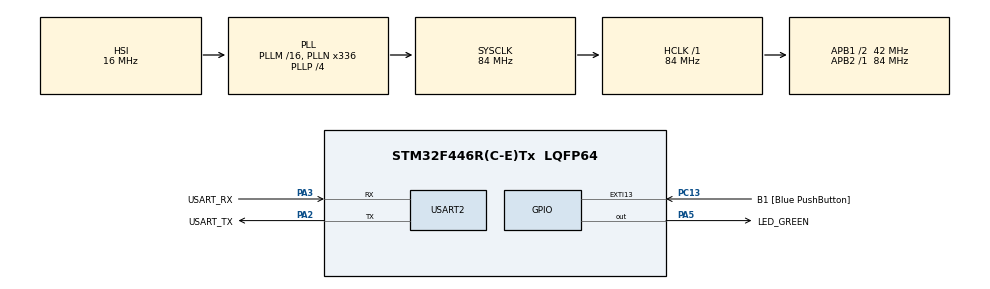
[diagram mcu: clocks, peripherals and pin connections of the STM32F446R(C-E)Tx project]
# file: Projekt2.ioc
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ADC1.Channel-0\#ChannelRegularConversion=ADC_CHANNEL_TEMPSENSOR
ADC1.NbrOfConversionFlag=1
ADC1.Rank-0\#ChannelRegularConversion=1
ADC1.SamplingTime-0\#ChannelRegularConversion=ADC_SAMPLETIME_3CYCLES
ADC1.master=1
FREERTOS.Queues01=myQueue01,16,uint16_t,0,Dynamic,NULL,NULL;ADC_Queue,16,uint16_t,0,Dynamic,NULL,NULL;Alert_Queue,16,uint16_t,0,Dynamic,NULL,NULL;Analysis_Queue,16,uint16_t,0,Dynamic,NULL,NULL
FREERTOS.Tasks01=UartTask,24,128,StartDefaultTask,Default,NULL,Dynamic,NULL,NULL;LedTask,8,128,StartTask02,Default,NULL,Dynamic,NULL,NULL;ADC_Sampler,24,256,StartAdcSamplerTask,Default,NULL,Dynamic,NULL,NULL;Data_Analyzer,8,256,StartDataAnalyzerTask,Default,NULL,Dynamic,NULL,NULL;Alert_Monitor,8,256,StartAlertMonitorTask,Default,NULL,Dynamic,NULL,NULL
FREERTOS.configUSE_IDLE_HOOK=1
FREERTOS.configUSE_MALLOC_FAILED_HOOK=1
FREERTOS.configUSE_NEWLIB_REENTRANT=1
Mcu.Family=STM32F4
Mcu.Name=STM32F446R(C-E)Tx
Mcu.Package=LQFP64
NVIC.ADC_IRQn=true\:5\:0\:false\:false\:true\:true\:true\:true\:true
NVIC.PriorityGroup=NVIC_PRIORITYGROUP_4
NVIC.TIM5_IRQn=true\:15\:0\:false\:false\:true\:false\:false\:true\:true
NVIC.TimeBase=TIM5_IRQn
NVIC.TimeBaseIP=TIM5
NVIC.USART2_IRQn=true\:5\:0\:false\:false\:true\:true\:true\:true\:true
PA13.GPIO_Label=TMS
PA13.Mode=Serial_Wire
PA13.Signal=SYS_JTMS-SWDIO
PA14.GPIO_Label=TCK
PA14.Mode=Serial_Wire
PA14.Signal=SYS_JTCK-SWCLK
PA2.GPIO_Label=USART_TX
PA2.Mode=Asynchronous
PA2.Signal=USART2_TX
PA3.GPIO_Label=USART_RX
PA3.Mode=Asynchronous
PA3.Signal=USART2_RX
PA5.GPIO_Label=LED_GREEN
PA5.Signal=GPIO_Output
PB3.GPIO_Label=SWO
PB3.Signal=SYS_JTDO-SWO
PC13.GPIO_Label=B1 [Blue PushButton]
PC13.GPIO_ModeDefaultEXTI=GPIO_MODE_IT_FALLING
PC13.Signal=GPXTI13
PC14-OSC32_IN.Mode=LSE-External-Oscillator
PC14-OSC32_IN.Signal=RCC_OSC32_IN
PC15-OSC32_OUT.Mode=LSE-External-Oscillator
PC15-OSC32_OUT.Signal=RCC_OSC32_OUT
PH0-OSC_IN.Mode=HSE-External-Oscillator
PH0-OSC_IN.Signal=RCC_OSC_IN
PH1-OSC_OUT.Mode=HSE-External-Oscillator
PH1-OSC_OUT.Signal=RCC_OSC_OUT
ProjectManager.HeapSize=0x200
ProjectManager.StackSize=0x400
ProjectManager.TargetToolchain=STM32CubeIDE
RCC.48MHZClocksFreq_Value=84000000
RCC.AHBFreq_Value=84000000
RCC.APB1CLKDivider=RCC_HCLK_DIV2
RCC.APB1Freq_Value=42000000
RCC.APB1TimFreq_Value=84000000
RCC.APB2Freq_Value=84000000
RCC.APB2TimFreq_Value=84000000
RCC.CortexFreq_Value=84000000
RCC.FLatency-AdvancedSettings=FLASH_LATENCY_2
RCC.HCLKFreq_Value=84000000
RCC.HSE_VALUE=8000000
RCC.HSI_VALUE=16000000
RCC.PLLN=336
RCC.PLLP=RCC_PLLP_DIV4
RCC.SYSCLKFreq_VALUE=84000000
RCC.SYSCLKSource=RCC_SYSCLKSOURCE_PLLCLK
RCC.USBFreq_Value=168000000
RCC.VCOOutputFreq_Value=336000000
USART2.VirtualMode=VM_ASYNC
VP_ADC1_TempSens_Input.Mode=IN-TempSens
VP_FREERTOS_VS_CMSIS_V2.Mode=CMSIS_V2
VP_SYS_VS_tim5.Mode=TIM5
board=NUCLEO-F446RE

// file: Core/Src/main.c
/* USER CODE BEGIN Header */
/**
  ******************************************************************************
  * @file           : main.c
  * @brief          : Main program body
  ******************************************************************************
  * @attention
  *
  * Copyright (c) 2025 STMicroelectronics.
  * All rights reserved.
  *
  * This software is licensed under terms that can be found in the LICENSE file
  * in the root directory of this software component.
  * If no LICENSE file comes with this software, it is provided AS-IS.
  *
  ******************************************************************************
  */
/* USER CODE END Header */
#include "main.h"
#include "cmsis_os.h"

/* USER CODE BEGIN Includes */
#include <stdio.h>
#include <string.h>
/* USER CODE END Includes */

/* USER CODE BEGIN PTD */
typedef enum {
    CMD_NONE,
    CMD_START_LED,
    CMD_STOP_LED,
    CMD_EXIT,
    CMD_SET_PERIOD,
    CMD_GET_PERIOD,
    CMD_GET_ADC,
    CMD_SET_ALERT,
    CMD_START_ANALYSIS,
    CMD_STOP_ANALYSIS,
    CMD_SET_ANALYSIS_AVG,
    CMD_SET_ANALYSIS_MAX,
    CMD_SET_ANALYSIS_MIN,
    CMD_GET_ANALYSIS,
    CMD_SET_SAMPLES
} Command_t;

typedef enum {
    ANALYSIS_AVG,
    ANALYSIS_MAX,
    ANALYSIS_MIN
} AnalysisMode_t;
/* USER CODE END PTD */

/* USER CODE BEGIN PD */
#define UART_BUFFER_SIZE 20
#define UART_RESPONSE_SIZE 120
/* USER CODE END PD */

ADC_HandleTypeDef hadc1;

UART_HandleTypeDef huart2;

/* Definitions for UartTask */
osThreadId_t UartTaskHandle;
const osThreadAttr_t UartTask_attributes = {
  .name = "UartTask",
  .stack_size = 128 * 4,
  .priority = (osPriority_t) osPriorityNormal,
};
/* Definitions for LedTask */
osThreadId_t LedTaskHandle;
const osThreadAttr_t LedTask_attributes = {
  .name = "LedTask",
  .stack_size = 128 * 4,
  .priority = (osPriority_t) osPriorityLow,
};
/* Definitions for ADC_Sampler */
osThreadId_t ADC_SamplerHandle;
const osThreadAttr_t ADC_Sampler_attributes = {
  .name = "ADC_Sampler",
  .stack_size = 256 * 4,
  .priority = (osPriority_t) osPriorityNormal,
};
/* Definitions for Data_Analyzer */
osThreadId_t Data_AnalyzerHandle;
const osThreadAttr_t Data_Analyzer_attributes = {
  .name = "Data_Analyzer",
  .stack_size = 256 * 4,
  .priority = (osPriority_t) osPriorityLow,
};
/* Definitions for Alert_Monitor */
osThreadId_t Alert_MonitorHandle;
const osThreadAttr_t Alert_Monitor_attributes = {
  .name = "Alert_Monitor",
  .stack_size = 256 * 4,
  .priority = (osPriority_t) osPriorityLow,
};
/* Definitions for myQueue01 */
osMessageQueueId_t myQueue01Handle;
const osMessageQueueAttr_t myQueue01_attributes = {
  .name = "myQueue01"
};
/* Definitions for ADC_Queue */
osMessageQueueId_t ADC_QueueHandle;
const osMessageQueueAttr_t ADC_Queue_attributes = {
  .name = "ADC_Queue"
};
/* Definitions for Alert_Queue */
osMessageQueueId_t Alert_QueueHandle;
const osMessageQueueAttr_t Alert_Queue_attributes = {
  .name = "Alert_Queue"
};
/* Definitions for Analysis_Queue */
osMessageQueueId_t Analysis_QueueHandle;
const osMessageQueueAttr_t Analysis_Queue_attributes = {
  .name = "Analysis_Queue"
};
/* USER CODE BEGIN PV */
uint8_t uart_rx_char;
uint8_t uart_rx_buffer[UART_BUFFER_SIZE];
uint16_t uart_rx_index = 0;
osMessageQueueId_t ledCmdQueueHandle;
osMessageQueueId_t adcQueueHandle;
osMessageQueueId_t alertQueueHandle;
osMessageQueueId_t analysisQueueHandle;

volatile uint16_t adcPeriod = 1000; // Domyślny okres próbkowania ADC
volatile uint16_t alertThreshold = 4000; // Domyślny próg alarmowy
volatile uint8_t alertActive = 0;
volatile AnalysisMode_t analysisMode = ANALYSIS_AVG;
volatile uint16_t sampleCount = 10; // Domyślna liczba próbek do analizy
volatile uint8_t analysisRunning = 0;

uint16_t adcBuffer[20]; // Bufor na próbki ADC (można dostosować rozmiar)
uint16_t adcBufferIndex = 0;

const char welcome_msg[] =
      "\r\n"
      "***************************************\r\n"
      " System gotowy do działania \r\n"
      "***************************************\r\n"
      "MENU:\r\n"
      "1. START LED\r\n"
      "2. STOP LED\r\n"
      "3. EXIT\r\n"
      "4. SET PERIOD <ms>\r\n"
      "5. GET PERIOD\r\n"
      "6. GET ADC\r\n"
      "7. SET ALERT <value>\r\n"
      "8. START ANALYSIS\r\n"
      "9. STOP ANALYSIS\r\n"
      "10. SET ANALYSIS_AVG\r\n"
      "11. SET ANALYSIS_MAX\r\n"
      "12. SET ANALYSIS_MIN\r\n"
      "13. GET ANALYSIS\r\n"
      "14. SET SAMPLES <value>\r\n"
      "***************************************\r\n"
      "> ";

/* USER CODE END PV */

void SystemClock_Config(void);
static void MX_GPIO_Init(void);
static void MX_USART2_UART_Init(void);
static void MX_ADC1_Init(void);
void StartDefaultTask(void *argument);
void StartTask02(void *argument);
void StartAdcSamplerTask(void *argument);
void StartDataAnalyzerTask(void *argument);
void StartAlertMonitorTask(void *argument);

/* USER CODE BEGIN PFP */
char* CommandHandler_Parse(char* command);
uint16_t ReadAdcValue(void);
/* USER CODE END PFP */

/* USER CODE BEGIN 0 */
int __io_putchar(int ch)
{
    HAL_UART_Transmit(&huart2, (uint8_t*)&ch, 1, HAL_MAX_DELAY);
    return 1;
}

// Odbiór pojedynczego znaku przez przerwanie
void HAL_UART_RxCpltCallback(UART_HandleTypeDef *huart)
{
    if (huart->Instance == USART2)
    {
        // Przekaż znak do kolejki
        osMessageQueuePut(myQueue01Handle, &uart_rx_char, 0, 0);
        HAL_UART_Receive_IT(&huart2, &uart_rx_char, 1);
    }
}

/* USER CODE END 0 */

int main(void)
{

  /* MCU Configuration--------------------------------------------------------*/

  /* Reset of all peripherals, Initializes the Flash interface and the Systick. */
  HAL_Init();

  /* Configure the system clock */
  SystemClock_Config();

  /* Initialize all configured peripherals */
  MX_GPIO_Init();
  MX_USART2_UART_Init();
  MX_ADC1_Init();
  /* USER CODE BEGIN 2 */
  HAL_UART_Receive_IT(&huart2, &uart_rx_char, 1);
  /* USER CODE END 2 */

  /* Init scheduler */
  osKernelInitialize();

  /* Create the queue(s) */
  /* creation of myQueue01 */
  myQueue01Handle = osMessageQueueNew (16, sizeof(uint16_t), &myQueue01_attributes);

  /* creation of ADC_Queue */
  ADC_QueueHandle = osMessageQueueNew (16, sizeof(uint16_t), &ADC_Queue_attributes);

  /* creation of Alert_Queue */
  Alert_QueueHandle = osMessageQueueNew (16, sizeof(uint16_t), &Alert_Queue_attributes);

  /* creation of Analysis_Queue */
  Analysis_QueueHandle = osMessageQueueNew (16, sizeof(uint16_t), &Analysis_Queue_attributes);

  /* USER CODE BEGIN RTOS_QUEUES */
  ledCmdQueueHandle = osMessageQueueNew (4, sizeof(Command_t), NULL);
  adcQueueHandle = osMessageQueueNew (16, sizeof(uint16_t), NULL);
  alertQueueHandle = osMessageQueueNew (16, sizeof(uint16_t), NULL);
  analysisQueueHandle = osMessageQueueNew (16, sizeof(uint16_t), NULL);
  /* USER CODE END RTOS_QUEUES */

  /* Create the thread(s) */
  /* creation of UartTask */
  UartTaskHandle = osThreadNew(StartDefaultTask, NULL, &UartTask_attributes);

  /* creation of LedTask */
  LedTaskHandle = osThreadNew(StartTask02, NULL, &LedTask_attributes);

  /* creation of ADC_Sampler */
  ADC_SamplerHandle = osThreadNew(StartAdcSamplerTask, NULL, &ADC_Sampler_attributes);

  /* creation of Data_Analyzer */
  Data_AnalyzerHandle = osThreadNew(StartDataAnalyzerTask, NULL, &Data_Analyzer_attributes);

  /* creation of Alert_Monitor */
  Alert_MonitorHandle = osThreadNew(StartAlertMonitorTask, NULL, &Alert_Monitor_attributes);

  /* Start scheduler */
  osKernelStart();

  /* We should never get here as control is now taken by the scheduler */

  /* Infinite loop */

}

void SystemClock_Config(void)
{
  RCC_OscInitTypeDef RCC_OscInitStruct = {0};
  RCC_ClkInitTypeDef RCC_ClkInitStruct = {0};

  /** Configure the main internal regulator output voltage
  */
  __HAL_RCC_PWR_CLK_ENABLE();
  __HAL_PWR_VOLTAGESCALING_CONFIG(PWR_REGULATOR_VOLTAGE_SCALE3);

  /** Initializes the RCC Oscillators according to the specified parameters
  * in the RCC_OscInitTypeDef structure.
  */
  RCC_OscInitStruct.OscillatorType = RCC_OSCILLATORTYPE_HSI;
  RCC_OscInitStruct.HSIState = RCC_HSI_ON;
  RCC_OscInitStruct.HSICalibrationValue = RCC_HSICALIBRATION_DEFAULT;
  RCC_OscInitStruct.PLL.PLLState = RCC_PLL_ON;
  RCC_OscInitStruct.PLL.PLLSource = RCC_PLLSOURCE_HSI;
  RCC_OscInitStruct.PLL.PLLM = 16;
  RCC_OscInitStruct.PLL.PLLN = 336;
  RCC_OscInitStruct.PLL.PLLP = RCC_PLLP_DIV4;
  RCC_OscInitStruct.PLL.PLLQ = 2;
  RCC_OscInitStruct.PLL.PLLR = 2;
  if (HAL_RCC_OscConfig(&RCC_OscInitStruct) != HAL_OK)
  {
    Error_Handler();
  }

  /** Initializes the CPU, AHB and APB buses clocks
  */
  RCC_ClkInitStruct.ClockType = RCC_CLOCKTYPE_HCLK|RCC_CLOCKTYPE_SYSCLK
                              |RCC_CLOCKTYPE_PCLK1|RCC_CLOCKTYPE_PCLK2;
  RCC_ClkInitStruct.SYSCLKSource = RCC_SYSCLKSOURCE_PLLCLK;
  RCC_ClkInitStruct.AHBCLKDivider = RCC_SYSCLK_DIV1;
  RCC_ClkInitStruct.APB1CLKDivider = RCC_HCLK_DIV2;
  RCC_ClkInitStruct.APB2CLKDivider = RCC_HCLK_DIV1;

  if (HAL_RCC_ClockConfig(&RCC_ClkInitStruct, FLASH_LATENCY_2) != HAL_OK)
  {
    Error_Handler();
  }
}

static void MX_ADC1_Init(void)
{

  ADC_ChannelConfTypeDef sConfig = {0};

  /** Configure the global features of the ADC (Clock, Resolution, Data Alignment and number of conversion)
  */
  hadc1.Instance = ADC1;
  hadc1.Init.ClockPrescaler = ADC_CLOCK_SYNC_PCLK_DIV4;
  hadc1.Init.Resolution = ADC_RESOLUTION_12B;
  hadc1.Init.ScanConvMode = DISABLE;
  hadc1.Init.ContinuousConvMode = DISABLE;
  hadc1.Init.DiscontinuousConvMode = DISABLE;
  hadc1.Init.ExternalTrigConvEdge = ADC_EXTERNALTRIGCONVEDGE_NONE;
  hadc1.Init.ExternalTrigConv = ADC_SOFTWARE_START;
  hadc1.Init.DataAlign = ADC_DATAALIGN_RIGHT;
  hadc1.Init.NbrOfConversion = 1;
  hadc1.Init.DMAContinuousRequests = DISABLE;
  hadc1.Init.EOCSelection = ADC_EOC_SINGLE_CONV;
  if (HAL_ADC_Init(&hadc1) != HAL_OK)
  {
    Error_Handler();
  }

  /** Configure for the selected ADC regular channel its corresponding rank in the sequencer and its sample time.
  */
  sConfig.Channel = ADC_CHANNEL_TEMPSENSOR;
  sConfig.Rank = 1;
  sConfig.SamplingTime = ADC_SAMPLETIME_3CYCLES;
  if (HAL_ADC_ConfigChannel(&hadc1, &sConfig) != HAL_OK)
  {
    Error_Handler();
  }

}

static void MX_USART2_UART_Init(void)
{

  huart2.Instance = USART2;
  huart2.Init.BaudRate = 115200;
  huart2.Init.WordLength = UART_WORDLENGTH_8B;
  huart2.Init.StopBits = UART_STOPBITS_1;
  huart2.Init.Parity = UART_PARITY_NONE;
  huart2.Init.Mode = UART_MODE_TX_RX;
  huart2.Init.HwFlowCtl = UART_HWCONTROL_NONE;
  huart2.Init.OverSampling = UART_OVERSAMPLING_16;
  if (HAL_UART_Init(&huart2) != HAL_OK)
  {
    Error_Handler();
  }

}

static void MX_GPIO_Init(void)
{
  GPIO_InitTypeDef GPIO_InitStruct = {0};

  /* GPIO Ports Clock Enable */
  __HAL_RCC_GPIOC_CLK_ENABLE();
  __HAL_RCC_GPIOH_CLK_ENABLE();
  __HAL_RCC_GPIOA_CLK_ENABLE();
  __HAL_RCC_GPIOB_CLK_ENABLE();

  /*Configure GPIO pin Output Level */
  HAL_GPIO_WritePin(LED_GREEN_GPIO_Port, LED_GREEN_Pin, GPIO_PIN_RESET);

  /*Configure GPIO pin : B1_Pin */
  GPIO_InitStruct.Pin = B1_Pin;
  GPIO_InitStruct.Mode = GPIO_MODE_IT_FALLING;
  GPIO_InitStruct.Pull = GPIO_NOPULL;
  HAL_GPIO_Init(B1_GPIO_Port, &GPIO_InitStruct);

  /*Configure GPIO pin : LED_GREEN_Pin */
  GPIO_InitStruct.Pin = LED_GREEN_Pin;
  GPIO_InitStruct.Mode = GPIO_MODE_OUTPUT_PP;
  GPIO_InitStruct.Pull = GPIO_NOPULL;
  GPIO_InitStruct.Speed = GPIO_SPEED_FREQ_LOW;
  HAL_GPIO_Init(LED_GREEN_GPIO_Port, &GPIO_InitStruct);

}

/* USER CODE BEGIN 4 */
char* CommandHandler_Parse(char* command)
{
    static char responseBuffer[UART_RESPONSE_SIZE];
    Command_t cmd = CMD_NONE;
    uint16_t value;

    size_t len = strlen(command);
    if (len > 0 && command[len - 1] == '\n') command[len - 1] = '\0';
    if (len > 0 && command[len - 1] == '\r') command[len - 1] = '\0';

    if (strcmp(command, "START LED") == 0) {
        cmd = CMD_START_LED;
        snprintf(responseBuffer, UART_RESPONSE_SIZE, "Dioda LED zaczyna mrugac z czestotliwoscia 0.5Hz");
        osMessageQueuePut(ledCmdQueueHandle, &cmd, 0, 0);
    }
    else if (strcmp(command, "STOP LED") == 0) {
        cmd = CMD_STOP_LED;
        snprintf(responseBuffer, UART_RESPONSE_SIZE, "Dioda LED zostala wylaczona");
        osMessageQueuePut(ledCmdQueueHandle, &cmd, 0, 0);
    }
    else if (strcmp(command, "EXIT") == 0) {
        cmd = CMD_EXIT;
        snprintf(responseBuffer, UART_RESPONSE_SIZE, "Zamykanie programu...");
        osMessageQueuePut(ledCmdQueueHandle, &cmd, 0, 0);
    }
    // Nowe komendy
    else if (strncmp(command, "SET PERIOD ", 11) == 0) {
        if (sscanf(command + 11, "%hu", &value) == 1) {
            adcPeriod = value;
            snprintf(responseBuffer, UART_RESPONSE_SIZE, "Okres probkowania ustawiony na %u ms", value);
        } else {
            snprintf(responseBuffer, UART_RESPONSE_SIZE, "Blad: Nieprawidlowy format komendy SET_PERIOD");
        }
    }
    else if (strcmp(command, "GET PERIOD") == 0) {
        snprintf(responseBuffer, UART_RESPONSE_SIZE, "Aktualny okres probkowania: %u ms", adcPeriod);
    }
    else if (strcmp(command, "GET ADC") == 0) {
        uint16_t adcValue = ReadAdcValue();
        snprintf(responseBuffer, UART_RESPONSE_SIZE, "ADC: %u", adcValue);
    }
    else if (strncmp(command, "SET ALERT ", 10) == 0) {
        if (sscanf(command + 10, "%hu", &value) == 1) {
            alertThreshold = value;
            snprintf(responseBuffer, UART_RESPONSE_SIZE, "Próg alarmowy ustawiony na %u", value);
        } else {
            snprintf(responseBuffer, UART_RESPONSE_SIZE, "Blad: Nieprawidlowy format komendy SET_ALERT");
        }
    }
    else if (strcmp(command, "START ANALYSIS") == 0) {
        analysisRunning = 1;
        snprintf(responseBuffer, UART_RESPONSE_SIZE, "Analiza danych uruchomiona");
    }
    else if (strcmp(command, "STOP ANALYSIS") == 0) {
        analysisRunning = 0;
        snprintf(responseBuffer, UART_RESPONSE_SIZE, "Analiza danych zatrzymana");
    }
    else if (strcmp(command, "SET ANALYSIS AVG") == 0) {
        analysisMode = ANALYSIS_AVG;
        snprintf(responseBuffer, UART_RESPONSE_SIZE, "Tryb analizy ustawiony na: SREDNIA");
    }
    else if (strcmp(command, "SET ANALYSIS MAX") == 0) {
        analysisMode = ANALYSIS_MAX;
        snprintf(responseBuffer, UART_RESPONSE_SIZE, "Tryb analizy ustawiony na: MAKSIMUM");
    }
    else if (strcmp(command, "SET ANALYSIS MIN") == 0) {
        analysisMode = ANALYSIS_MIN;
        snprintf(responseBuffer, UART_RESPONSE_SIZE, "Tryb analizy ustawiony na: MINIMUM");
    }
    else if (strcmp(command, "GET ANALYSIS") == 0) {
        const char* modeStr = "";
        switch(analysisMode) {
            case ANALYSIS_AVG: modeStr = "A:AVG"; break;
            case ANALYSIS_MAX: modeStr = "A:MAX"; break;
            case ANALYSIS_MIN: modeStr = "A:MIN"; break;
        }
        snprintf(responseBuffer, UART_RESPONSE_SIZE, "Aktualny tryb analizy: %s", modeStr);
    }
    else if (strncmp(command, "SET SAMPLES ", 12) == 0) {
        if (sscanf(command + 12, "%hu", &value) == 1 && value > 0 && value <= 20) {
            sampleCount = value;
            snprintf(responseBuffer, UART_RESPONSE_SIZE, "Liczba probek do analizy ustawiona na %u", value);
        } else {
            snprintf(responseBuffer, UART_RESPONSE_SIZE, "Blad: Nieprawidlowa liczba probek (1-20)");
        }
    }
    else {
        snprintf(responseBuffer, UART_RESPONSE_SIZE, "Blad: Nieznane polecenie");
    }
    return responseBuffer;
}

uint16_t ReadAdcValue(void)
{
    ADC_ChannelConfTypeDef sConfig = {0};

    // Konfiguracja kanału ADC
    sConfig.Channel = ADC_CHANNEL_TEMPSENSOR;
    sConfig.Rank = 1;
    sConfig.SamplingTime = ADC_SAMPLETIME_480CYCLES;
    if (HAL_ADC_ConfigChannel(&hadc1, &sConfig) != HAL_OK)
    {
        Error_Handler();
    }

    // Rozpoczęcie konwersji
    HAL_ADC_Start(&hadc1);

    // Oczekiwanie na wynik
    if (HAL_ADC_PollForConversion(&hadc1, 10) == HAL_OK)
    {
        return HAL_ADC_GetValue(&hadc1);
    }

    return 0;
}
/* USER CODE END 4 */

void StartDefaultTask(void *argument)
{
  /* USER CODE BEGIN 5 */
	uint8_t rx_char;
	  uint8_t rx_buf[UART_BUFFER_SIZE];
	  uint16_t rx_idx = 0;
	  HAL_UART_Transmit(&huart2, (uint8_t*)welcome_msg, strlen(welcome_msg), HAL_MAX_DELAY);
	  /* Infinite loop */
	  for(;;)
	  {
	     if (osMessageQueueGet(myQueue01Handle, &rx_char, NULL, osWaitForever) == osOK)
	     {
	         if (rx_char == '\n' || rx_char == '\r') // Detekcja końca komendy
	         {
	             if (rx_idx > 0)
	             {
	                 rx_buf[rx_idx] = '\0'; // Zakończenie stringa
	                 char* response = CommandHandler_Parse((char*)rx_buf);
	                 HAL_UART_Transmit(&huart2, (uint8_t*)"\r\n", 2, HAL_MAX_DELAY);
	                 HAL_UART_Transmit(&huart2, (uint8_t*)response, strlen(response), HAL_MAX_DELAY);
	                 HAL_UART_Transmit(&huart2, (uint8_t*)"\r\n> ", 5, HAL_MAX_DELAY);
	                 rx_idx = 0;
	             }
	         }
	         else if (rx_idx < UART_BUFFER_SIZE - 1)
	         {
	             // Echo znaku (oprócz znaków specjalnych)
	             if(rx_char != '\r' && rx_char != '\n') {
	                 HAL_UART_Transmit(&huart2, &rx_char, 1, HAL_MAX_DELAY);
	             }
	             rx_buf[rx_idx++] = rx_char; // Dodanie znaku do bufora
	         }
	         else
	         {
	             char err[] = "\r\nError: Buffer overflow\r\n> ";
	             HAL_UART_Transmit(&huart2, (uint8_t*)err, strlen(err), HAL_MAX_DELAY);
	             rx_idx = 0;
	         }
	     }
	     osDelay(1);
  }
  /* USER CODE END 5 */
}

void StartTask02(void *argument)
{
  /* USER CODE BEGIN StartTask02 */
  /* Infinite loop */
    Command_t cmd;
    uint8_t led_on = 0;

    for(;;)
    {
        if(osMessageQueueGet(ledCmdQueueHandle, &cmd, NULL, 0) == osOK)
        {
            if (cmd == CMD_START_LED){
                led_on = 1;
            }
            else if(cmd == CMD_STOP_LED) {
                led_on = 0;
                HAL_GPIO_WritePin(LED_GREEN_GPIO_Port, LED_GREEN_Pin, GPIO_PIN_RESET);
            }
            else if(cmd == CMD_EXIT) {
                HAL_GPIO_WritePin(LED_GREEN_GPIO_Port, LED_GREEN_Pin, GPIO_PIN_RESET);
                osThreadExit();
            }
        }

        if(led_on){
            HAL_GPIO_TogglePin(LED_GREEN_GPIO_Port, LED_GREEN_Pin);
            osDelay(500);
        } else {
            osDelay(10);
        }
    }
  /* USER CODE END StartTask02 */
}

void StartAdcSamplerTask(void *argument)
{
  /* USER CODE BEGIN StartAdcSamplerTask */
    uint16_t adcValue;

    for(;;)
    {
        adcValue = ReadAdcValue();

        // Wysyłanie danych do kolejki analizatora i monitora alertów
        osMessageQueuePut(adcQueueHandle, &adcValue, 0, 0);
        osMessageQueuePut(alertQueueHandle, &adcValue, 0, 0);

        // Oczekiwanie do następnego cyklu
        osDelay(adcPeriod);
    }
  /* USER CODE END StartAdcSamplerTask */
}

void StartDataAnalyzerTask(void *argument)
{
  /* USER CODE BEGIN StartDataAnalyzerTask */
    uint16_t adcValue;
    uint16_t sum = 0;
    uint16_t max = 0;
    uint16_t min = 4095;
    uint16_t samplesCollected = 0;

    for(;;)
    {
        if(analysisRunning && osMessageQueueGet(adcQueueHandle, &adcValue, NULL, 0) == osOK)
        {
            // Dodanie wartości do bufora
            adcBuffer[adcBufferIndex] = adcValue;
            adcBufferIndex = (adcBufferIndex + 1) % sampleCount;

            // Obliczenia
            sum += adcValue;
            if(adcValue > max) max = adcValue;
            if(adcValue < min) min = adcValue;
            samplesCollected++;

            // Jeśli zebrano odpowiednią liczbę próbek
            if(samplesCollected >= sampleCount)
            {
                uint16_t result = 0;
                char msg[50];

                switch(analysisMode)
                {
                    case ANALYSIS_AVG:
                        result = sum / sampleCount;
                        snprintf(msg, sizeof(msg), "AVG: %u\r\n", result);
                        break;
                    case ANALYSIS_MAX:
                        result = max;
                        snprintf(msg, sizeof(msg), "MAX: %u\r\n", result);
                        break;
                    case ANALYSIS_MIN:
                        result = min;
                        snprintf(msg, sizeof(msg), "MIN: %u\r\n", result);
                        break;
                }

                HAL_UART_Transmit(&huart2, (uint8_t*)msg, strlen(msg), HAL_MAX_DELAY);

                // Resetowanie wartości
                sum = 0;
                max = 0;
                min = 4095;
                samplesCollected = 0;
            }
        }
        osDelay(10);
    }
  /* USER CODE END StartDataAnalyzerTask */
}

void StartAlertMonitorTask(void *argument)
{
  /* USER CODE BEGIN StartAlertMonitorTask */
    uint16_t adcValue;
    uint8_t alertTriggered = 0;

    for(;;)
    {
        if(osMessageQueueGet(alertQueueHandle, &adcValue, NULL, 0) == osOK)
        {
            if(adcValue > alertThreshold)
            {
                if(!alertTriggered)
                {
                    char alertMsg[50];
                    snprintf(alertMsg, sizeof(alertMsg), "!!! ALERT: Value %u above limit !!!\r\n", adcValue);
                    HAL_UART_Transmit(&huart2, (uint8_t*)alertMsg, strlen(alertMsg), HAL_MAX_DELAY);
                    alertTriggered = 1;
                }
            }
            else
            {
                alertTriggered = 0;
            }
        }
        osDelay(10);
    }
  /* USER CODE END StartAlertMonitorTask */
}

void HAL_TIM_PeriodElapsedCallback(TIM_HandleTypeDef *htim)
{
  if (htim->Instance == TIM5)
  {
    HAL_IncTick();
  }
}

void Error_Handler(void)
{
}
